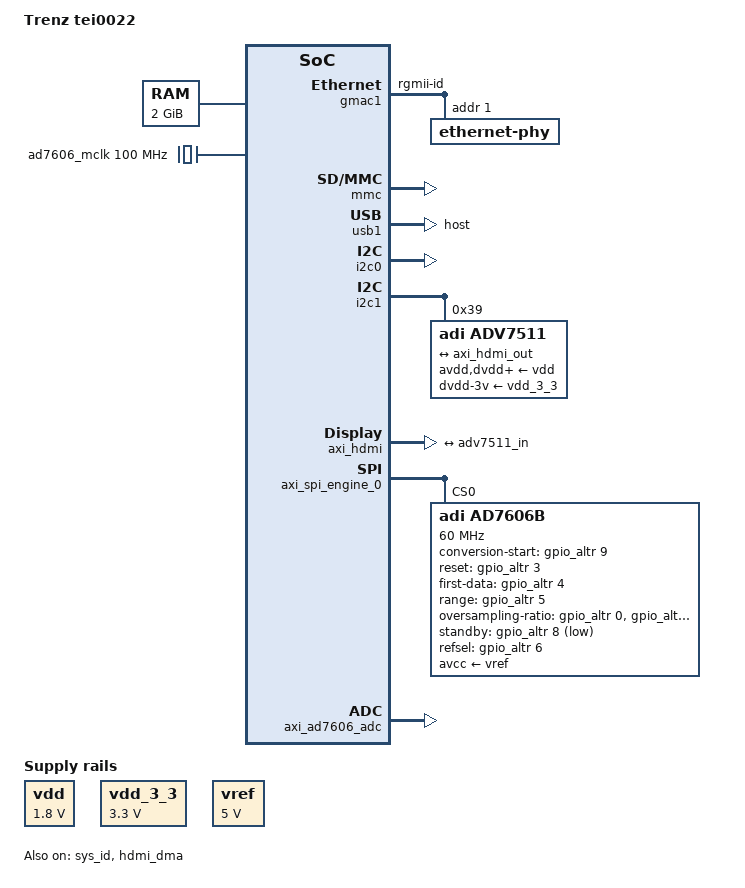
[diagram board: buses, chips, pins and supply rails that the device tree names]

#include "socfpga_cyclone5.dtsi"
#include "dt-bindings/interrupt-controller/irq.h"
#include <dt-bindings/gpio/gpio.h>

/ {
	model = "Trenz tei0022";
	compatible = "altr,socfpga-cyclone5", "altr,socfpga";

	chosen {
		bootargs = "earlyprintk";
		stdout-path = "serial0:115200n8";
	};

	memory {
		name = "memory";
		device_type = "memory";
		reg = <0x0 0x80000000>;
	};

	aliases {
		ethernet0 = &gmac1;
	};

	dma_clk: dma_clk {
		#clock-cells = <0x0>;
		compatible = "fixed-clock";
		clock-frequency = <100000000>;
		clock-output-names = "dma_clock";
	};

	ad7606_mclk: ad7606_mclk {
		#clock-cells = <0>;
		compatible = "fixed-clock";
		clock-frequency = <100000000>;
                clock-output-names = "ad7606_mclk";
	};

	 spi_engine_clk: spi_engine_clk {
                #clock-cells = <0x0>;
                compatible = "fixed-clock";
                clock-frequency = <100000000>;
                clock-output-names = "spi_engine_clock";
        };

	spi_clk: spi_clk {
		#clock-cells = <0x0>;
		compatible = "fixed-clock";
		clock-frequency = <100000000>;
		clock-output-names = "spi_clock";
	};


	sys_clk: sys_clk {
		#clock-cells = <0x0>;
		compatible = "fixed-clock";
		clock-frequency = <100000000>;
		clock-output-names = "sys_clock";
	};

	hdmi_pll: hdmi_pll {
		compatible = "altr,altera_iopll-18.1";
		#clock-cells = <1>;
			hdmi_pll_outclk0: hdmi_pll_outclk0 {
			compatible = "fixed-clock";
			#clock-cells = <0>;
			clock-frequency = <148500000>;
			clock-output-names = "hdmi_pll-outclk0";
		}; 
	};

	/* add additional system clock device tree entries here */

        vdd: regulator-vdd {
                compatible = "regulator-fixed";
                regulator-name = "fixed-supply";
                regulator-min-microvolt = <1800000>;
                regulator-max-microvolt = <1800000>;
                regulator-always-on;
        };

        vdd_3_3: regulator-vdd {
                compatible = "regulator-fixed";
                regulator-name = "fixed-supply";
                regulator-min-microvolt = <3300000>;
                regulator-max-microvolt = <3300000>;
                regulator-always-on;
        };

        vref: regulator-vref {
                compatible = "regulator-fixed";
                regulator-name = "fixed-supply";
                regulator-min-microvolt = <5000000>;
                regulator-max-microvolt = <5000000>;
                regulator-always-on;
        };


	soc {
		clkmgr@ffd04000 {
			clocks {
				osc1 {
					clock-frequency = <25000000>;
				};
			};
		};

		gmac1: ethernet@ff702000 {

			#address-cells = <1>;
        		#size-cells = <0>;

			status = "okay";
			phy-mode = "rgmii-id";

       			ethernet-phy@1 {
				reg = <1>;
				adi,rx-internal-delay-ps = <2000>;
				adi,tx-internal-delay-ps = <2000>;
        		};

		};

		timer0: timer0@ffc08000 {
			clock-frequency = <100000000>;
		};

		timer1: timer1@ffc09000 {
			clock-frequency = <100000000>;
		};

		timer2: timer2@ffd00000 {
			clock-frequency = <25000000>;
		};

		timer3: timer3@ffd01000 {
			clock-frequency = <25000000>;
		};

		uart0: serial0@ffc02000 {
			clock-frequency = <100000000>;
		};

		uart1: serial1@ffc03000 {
			clock-frequency = <100000000>;
		};

		mmc: dwmmc0@ff704000 {
			status = "okay";
			supports-highspeed;
			altr,dw-mshc-ciu-div = <0x3>;
			altr,dw-mshc-sdr-timing = <0x0 0x3>;
			slot@0 {
				reg = <0x0>;
				bus-width = <0x4>;
			};
		};

		usb1: usb@ffb40000 {
			status = "okay";
			enable-dynamic-fifo = <1>;
			host-rx-fifo-size = <0xa00>;
			host-perio-tx-fifo-size = <0xa00>;
			host-nperio-tx-fifo-size = <0xa00>;
			dma-desc-enable = <0>;
			dr_mode = "host";
		};

		i2c0: i2c@ffc04000 {
			status = "okay";
			speed-mode = <0>;
			#address-cells = <1>;
			#size-cells = <0>;
		};

		i2c1: i2c@ffc05000 {
			status = "okay";
			speed-mode = <0>;
			#address-cells = <1>;
			#size-cells = <0>;

			/* adv7511 device tree entry. for additional information see /linux/Documentation/devicetree/bindings/display/bridge/adi,adv7511.txt */

			adv7511: adv7511@39 {
				compatible = "adi,adv7511";
				reg = <0x39>, <0x3f>;
				reg-names = "primary", "edid";

				adi,input-depth = <8>;
				adi,input-colorspace = "yuv422";
				adi,input-clock = "1x";
				adi,input-style = <1>;
				adi,input-justification = "right";
				adi,clock-delay = <(0)>;

				avdd-supply = <&vdd>;
				dvdd-supply = <&vdd>;
				pvdd-supply = <&vdd>;
				dvdd-3v-supply = <&vdd_3_3>;
				bgvdd-supply = <&vdd>;

				status = "okay";

				ports {
					#address-cells = <1>;
					#size-cells = <0>;

					port@0 {
						reg = <0>;
						adv7511_in: endpoint {
							remote-endpoint = <&axi_hdmi_out>;
						};
					}; 

					port@1 {
						reg = <1>;
						
					};

				}; 
			};
		};

		/* add additional hps peripheral device tree entries here */


		sys_hps_bridges: bridge@ff200000 {
			compatible = "simple-bus";
			reg = <0xff200000 0x00200000>;
			reg-names ="axi_h2f_lw";
			#address-cells = <2>;
			#size-cells = <1>;
			ranges = <0x00000001 0x00010000 0xff210000 0x00000008>,
				<0x00000001 0x00020060 0xff220060 0x00000080>,
				<0x00000001 0x00020080 0xff220080 0x00000080>,
				<0x00000001 0x00030000 0xff230000 0x00000800>,
				<0x00000001 0x00038000 0xff238000 0x00000800>,
				<0x00000001 0x00040000 0xff240000 0x00010000>,
				<0x00000001 0x00050000 0xff250000 0x00000800>,
				<0x00000001 0x00060000 0xff260000 0x00010000>,
				<0x00000001 0x00070000 0xff270000 0x00000800>,
				<0x00000001 0x00090000 0xff290000 0x00000800>,
				<0x00000001 0x000a0000 0xff2a0000 0x00010000>;

			sys_id: sys-id@100010000 {
				compatible = "altr,sysid-1.0";
				reg = <0x00000001 0x00010000 0x08>;
				status = "okay";
			};

			gpio_altr: gpio_altr@100020060 {
                                compatible = "altr,pio-1.0";
                                //reg = <0xff220050 0x10>;
                                reg = <0x00000001 0x00020060 0x08>;
                                //interrupts = <0 47 4>;
                                //altr,ngpio = <32>;
                                altr,ngpio = <16>;
                                //altr,interrupt-type = <IRQ_TYPE_EDGE_RISING>;
                                #gpio-cells = <2>;
                                //gpio-controller;
                                //interrupt-controller;
                                //#interrupt-cells = <1>;
                        };

			hdmi_dma: hdmi-dma@100090000 {
				compatible = "adi,axi-dmac-1.00.a";
				reg = <0x00000001 0x00090000 0x0800>;
				#dma-cells = <1>;
				interrupt-parent = <&intc>;
				interrupts = <0 44 4>;
				clocks = <&dma_clk 0>;
				status = "okay";

				adi,channels {
					#size-cells = <0>;
					#address-cells = <1>;

					dma-channel@0 {
						reg = <0>;
						adi,source-bus-width = <64>;
						adi,source-bus-type = <0>;
						adi,destination-bus-width = <64>;
						adi,destination-bus-type = <1>;
					};
				};
			};


			axi_hdmi: axi-hdmi@1000a0000 {
				compatible = "adi,axi-hdmi-tx-1.00.a";
				reg = <0x00000001 0x000a0000 0x10000>;
				dmas = <&hdmi_dma 0>;
				dma-names = "video";
				clocks = <&hdmi_pll 0>;
				status = "okay";

				port {
					axi_hdmi_out: endpoint {
						remote-endpoint = <&adv7511_in>;
					};
				};
			};

// adi axi_spi_engine device tree entry. for additional information see /linux/Documentation/devicetree/bindings/spi/adi,axi-spi-engine.txt //

	
			axi_spi_engine_0: axi-spi-engine@10040000 {
				compatible = "adi,axi-spi-engine-1.00.a";
				reg = <0x00000001 0x00040000 0x00010000>;
				interrupt-parent = <&intc>;
				interrupts = <0 46 4>;
				clocks = <&spi_engine_clk>, <&spi_clk>;
				clock-names = "s_axi_aclk", "spi_clk";

				#address-cells = <0x1>;
				#size-cells = <0x0>;
				num-cs = <1>;


				ad7606b: adc@0 {
                        		compatible = "adi,ad7606b";
                        		reg = <0>;
                        		spi-max-frequency =<60000000>;
					spi-cpol;
					avcc-supply = <&vref>;
					adi,conversion-start-gpios = <&gpio_altr 9  GPIO_ACTIVE_HIGH>;
                			reset-gpios = <&gpio_altr 3 GPIO_ACTIVE_HIGH>;
               				adi,first-data-gpios = <&gpio_altr 4 GPIO_ACTIVE_HIGH>;
					adi,range = <&gpio_altr 5 GPIO_ACTIVE_HIGH>;
               				adi,oversampling-ratio-gpios = <&gpio_altr 0 GPIO_ACTIVE_HIGH>,
									<&gpio_altr 1 GPIO_ACTIVE_HIGH>, 
									<&gpio_altr 2 GPIO_ACTIVE_HIGH>;
                			standby-gpios = <&gpio_altr 8 GPIO_ACTIVE_LOW>;
                			refsel-gpios  = <&gpio_altr 6 GPIO_ACTIVE_HIGH>;
                			adi,sw-mode;
                                        #io-channel-cells = <1>;
                                        #gpio-cells = <2>;


               			 };				
			};
			
			ad7606_dma: ad7606-dma@10070000 {
				compatible = "adi,axi-dmac-1.00.a";
				reg = <0x00000001 0x00070000 0x00000800>;
				interrupt-parent = <&intc>;
				interrupts = <0 47 4>;
				#dma-cells = <1>;
				clocks = <&dma_clk>;

				adi,channels {
					#size-cells = <0>;
					#address-cells = <1>;

					dma-channel@0 {
						reg = <0>;
						adi,source-bus-width = <128>;
						adi,source-bus-type = <2>;
						adi,destination-bus-width = <64>;
						adi,destination-bus-type = <0>;
					};
				};
			};

			axi_ad7606_adc: axi-ad7606-adc@10060000 {
				compatible = "adi,axi-adc-10.0.a";
				reg = <0x00000001 0x00060000 0x00010000>;
				dmas = <&ad7606_dma 0>;
				dma-names = "rx";
				spibus-connected = <&ad7606b>;
			};

			/* add addiional FPGA peripheral device tree entries here */

		};
	};
};
